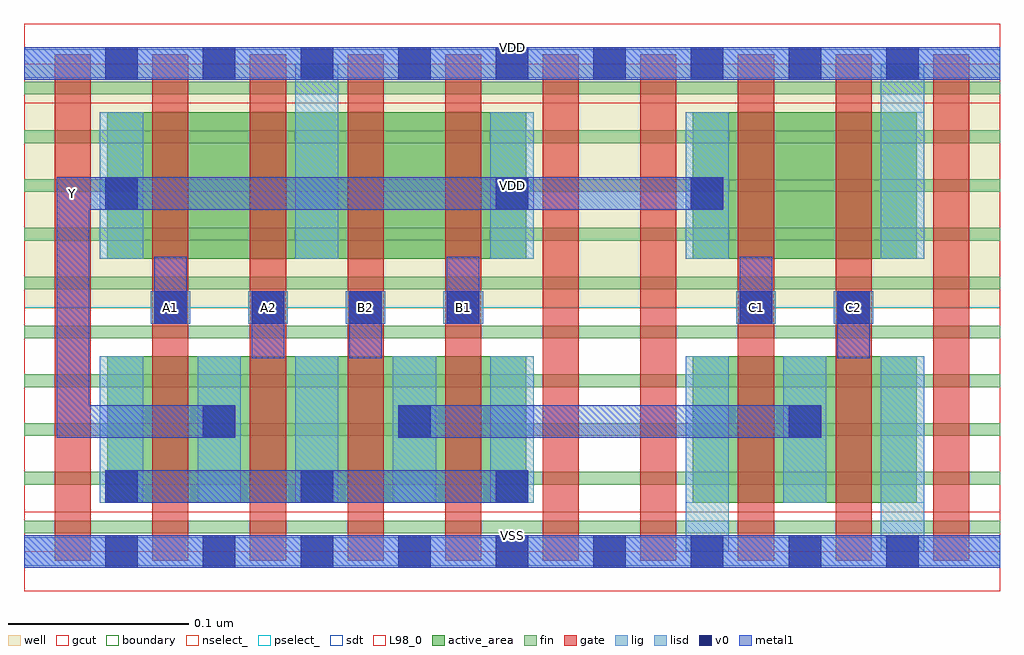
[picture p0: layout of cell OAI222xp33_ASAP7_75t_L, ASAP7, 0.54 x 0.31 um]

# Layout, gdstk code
import gdstk
lib = gdstk.Library(unit=1e-6, precision=2.5e-10)
def R(c, l, rs):  # rectangles x0, y0, x1, y1
    for r in rs: c.add(gdstk.rectangle(r[:2], r[2:], *l))
def A(c, l, x, y, w, h, nx, ny, dx, dy):  # array of equal rectangles
    R(c, l, [(x+i*dx, y+j*dy, x+i*dx+w, y+j*dy+h) for i in range(nx) for j in range(ny)])
def P(c, l, *ps):  # polygons
    for p in ps: c.add(gdstk.Polygon(p, *l))
well = (1, 0)
fin = (2, 0)
gate = (7, 0)
gcut = (10, 0)
active_area = (11, 0)
nselect_ = (12, 0)
pselect_ = (13, 0)
lig = (16, 0)
lisd = (17, 0)
v0 = (18, 0)
metal1 = (19, 0)
sdt = (88, 0)
L98_0 = (98, 0)
boundary = (100, 0)

oai222xp33_asap7_75t_l = lib.new_cell('OAI222xp33_ASAP7_75t_L')
R(oai222xp33_asap7_75t_l, well, [(0,0.135,0.54,0.27)])
A(oai222xp33_asap7_75t_l, fin, 0, 0.01, 0.54, 0.007, 1, 10, 0, 0.027)
A(oai222xp33_asap7_75t_l, gate, 0.017, -0.005, 0.02, 0.28, 10, 1, 0.054, 0)
R(oai222xp33_asap7_75t_l, gcut, [(0,-0.022,0.54,0.022), (0,0.248,0.54,0.292)])
R(oai222xp33_asap7_75t_l, active_area, [(0.046,0.027,0.278,0.108), (0.37,0.027,0.494,0.108), (0.046,0.162,0.278,0.243), (0.37,0.162,0.494,0.243)])
R(oai222xp33_asap7_75t_l, nselect_, [(0,0,0.54,0.135)])
R(oai222xp33_asap7_75t_l, pselect_, [(0,0.135,0.54,0.27)])
A(oai222xp33_asap7_75t_l, lig, 0.07, 0.126, 0.022, 0.018, 4, 1, 0.054, 0)
R(oai222xp33_asap7_75t_l, lig, [(0,-0.008,0.54,0.008), (0.394,0.126,0.416,0.144), (0.448,0.126,0.47,0.144), (0,0.262,0.54,0.278)])
A(oai222xp33_asap7_75t_l, lisd, 0.042, 0.027, 0.024, 0.081, 5, 1, 0.054, 0)
R(oai222xp33_asap7_75t_l, lisd, [(0.366,0,0.39,0.108), (0.366,0,0.39,0.108), (0.474,0,0.498,0.108), (0.474,0,0.498,0.108), (0.42,0.027,0.444,0.108), (0.042,0.162,0.066,0.243), (0.15,0.162,0.174,0.27), (0.15,0.162,0.174,0.27), (0.258,0.162,0.282,0.243), (0.366,0.162,0.39,0.243), (0.474,0.162,0.498,0.27), (0.474,0.162,0.498,0.27)])
A(oai222xp33_asap7_75t_l, v0, 0.045, -0.009, 0.018, 0.018, 9, 2, 0.054, 0.27)
A(oai222xp33_asap7_75t_l, v0, 0.045, 0.027, 0.018, 0.018, 3, 1, 0.108, 0)
A(oai222xp33_asap7_75t_l, v0, 0.072, 0.126, 0.018, 0.018, 4, 1, 0.054, 0)
R(oai222xp33_asap7_75t_l, v0, [(0.099,0.063,0.117,0.081), (0.207,0.063,0.225,0.081), (0.423,0.063,0.441,0.081), (0.396,0.126,0.414,0.144), (0.45,0.126,0.468,0.144), (0.045,0.189,0.063,0.207), (0.261,0.189,0.279,0.207), (0.369,0.189,0.387,0.207)])
A(oai222xp33_asap7_75t_l, metal1, 0.045, 0.027, 0.018, 0.018, 3, 1, 0.108, 0)
A(oai222xp33_asap7_75t_l, metal1, 0.072, 0.126, 0.018, 0.018, 4, 1, 0.054, 0)
A(oai222xp33_asap7_75t_l, metal1, 0.072, 0.126, 0.018, 0.037, 3, 1, 0.162, 0)
R(oai222xp33_asap7_75t_l, metal1, [(0,-0.009,0.54,0.009), (0.045,0.027,0.279,0.045), (0.099,0.063,0.117,0.081), (0.207,0.063,0.225,0.081), (0.207,0.063,0.441,0.081), (0.423,0.063,0.441,0.081), (0.126,0.107,0.144,0.144), (0.18,0.107,0.198,0.144), (0.45,0.107,0.468,0.144), (0.396,0.126,0.414,0.144), (0.45,0.126,0.468,0.144), (0.045,0.189,0.063,0.207), (0.261,0.189,0.279,0.207), (0.369,0.189,0.387,0.207), (0,0.261,0.54,0.279)])
P(oai222xp33_asap7_75t_l, metal1, [(0.387,0.207),(0.018,0.207),(0.018,0.063),(0.117,0.063),(0.117,0.081),(0.036,0.081),(0.036,0.189),(0.387,0.189)])
A(oai222xp33_asap7_75t_l, sdt, 0.042, 0.027, 0.024, 0.081, 5, 1, 0.054, 0)
A(oai222xp33_asap7_75t_l, sdt, 0.366, 0.027, 0.024, 0.081, 3, 1, 0.054, 0)
A(oai222xp33_asap7_75t_l, sdt, 0.15, 0.162, 0.024, 0.081, 4, 1, 0.108, 0)
R(oai222xp33_asap7_75t_l, sdt, [(0.366,0.027,0.39,0.108), (0.474,0.027,0.498,0.108), (0.042,0.162,0.066,0.243), (0.15,0.162,0.174,0.243), (0.474,0.162,0.498,0.243)])
R(oai222xp33_asap7_75t_l, L98_0, [(0,0,0.54,0.27)])
R(oai222xp33_asap7_75t_l, boundary, [(0,0,0.54,0.27)])
oai222xp33_asap7_75t_l.add(gdstk.Label('VDD', (0.27,0.2025), layer=1, texttype=251))
oai222xp33_asap7_75t_l.add(gdstk.Label('VSS', (0.27,-0.0675), layer=3, texttype=251))
oai222xp33_asap7_75t_l.add(gdstk.Label('VSS', (0.27,0.009), layer=19, texttype=251))
oai222xp33_asap7_75t_l.add(gdstk.Label('VDD', (0.27,0.279), layer=19, texttype=251))
oai222xp33_asap7_75t_l.add(gdstk.Label('Y', (0.027,0.198), layer=19, texttype=251))
oai222xp33_asap7_75t_l.add(gdstk.Label('A1', (0.081,0.135), layer=19, texttype=251))
oai222xp33_asap7_75t_l.add(gdstk.Label('A2', (0.135,0.135), layer=19, texttype=251))
oai222xp33_asap7_75t_l.add(gdstk.Label('B2', (0.189,0.135), layer=19, texttype=251))
oai222xp33_asap7_75t_l.add(gdstk.Label('B1', (0.243,0.135), layer=19, texttype=251))
oai222xp33_asap7_75t_l.add(gdstk.Label('C1', (0.405,0.135), layer=19, texttype=251))
oai222xp33_asap7_75t_l.add(gdstk.Label('C2', (0.459,0.135), layer=19, texttype=251))

lib.write_gds('OAI222xp33_ASAP7_75t_L.gds')
